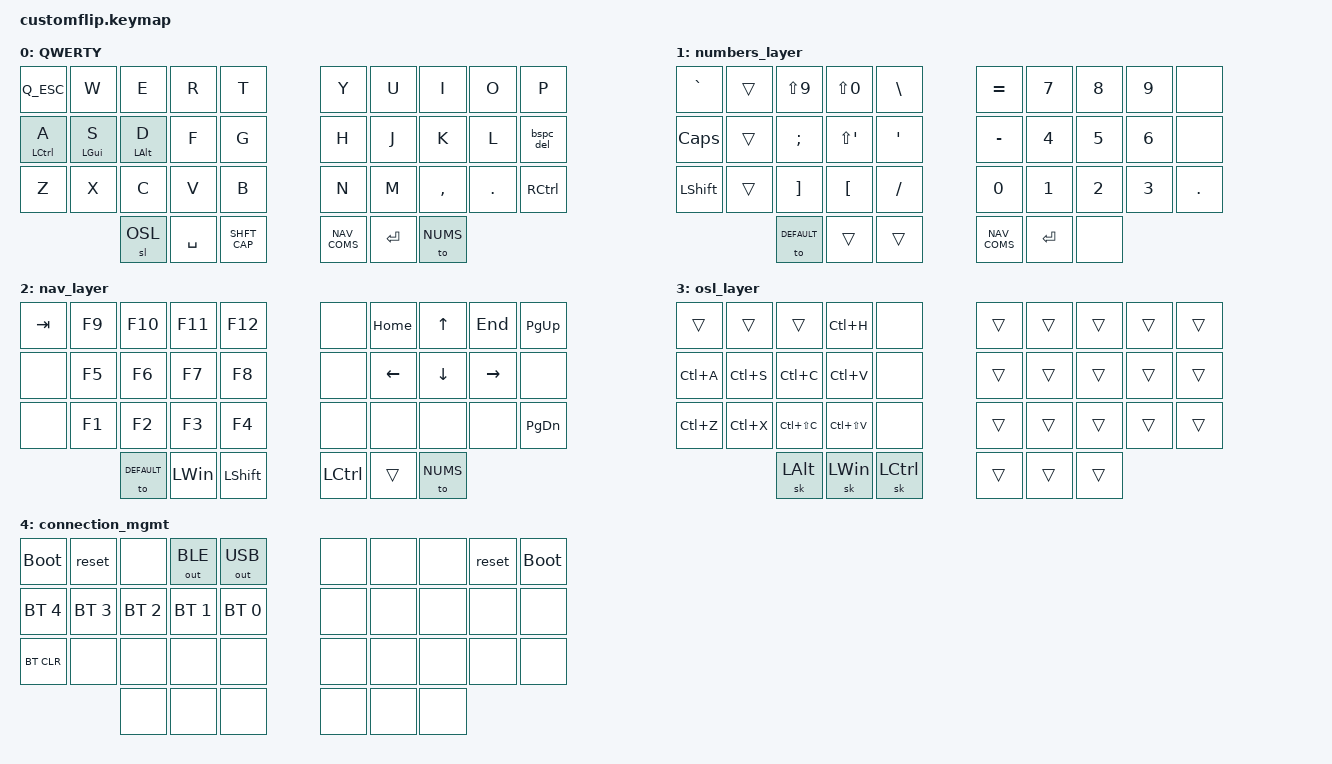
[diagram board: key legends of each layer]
/*
 * Copyright (c) 2020 The ZMK Contributors
 *
 * SPDX-License-Identifier: MIT
 */

#include <behaviors.dtsi>
#include <dt-bindings/zmk/keys.h>
#include <dt-bindings/zmk/bt.h>
#include <dt-bindings/zmk/backlight.h>
#include <dt-bindings/zmk/outputs.h>





#define DEFAULT 0
#define NUMS 1
#define NAV 2
#define OSL 3
#define CONMGMT 4

/ {
 /*
 // Mod Tap eg.   &mt LSHIFT A
 // Stickey Key   &sk LSHIFT
 // Stickey Layer &sl 1
 // Key Toggle	  &kt Alt
 // Key Press     &kp A
 
 */
    behaviors {
	
        hm: homerow_mods {
            compatible = "zmk,behavior-hold-tap";
            label = "HOMEROW_MODS";
            #binding-cells = <2>;
            tapping-term-ms = <150>;
            quick-tap-ms = <0>;
            flavor = "tap-preferred";
            bindings = <&sk>, <&kp>;
        };
		
        SHFT_CAP: tap_dance_0 {
            compatible = "zmk,behavior-tap-dance";
            label = "Double Shift Caps";
            #binding-cells = <0>;
            tapping-term-ms = <200>;
            bindings = <&kp LSHFT>, <&kp CAPS>;
        };
        NAV_COMS: tap_dance_1 {
            compatible = "zmk,behavior-tap-dance";
            label = "Layer nav or coms";
            #binding-cells = <0>;
            tapping-term-ms = <200>;
            bindings = <&to NAV>, <&sl CONMGMT>;
        };
        Q_ESC: tap_dance_2 {
            compatible = "zmk,behavior-tap-dance";
            label = "q_ESC";
            #binding-cells = <0>;
            tapping-term-ms = <200>;
            bindings = <&kp Q>, <&kp ESC>;
        };
		COMMA_ESC: tap_dance_3 {
            compatible = "zmk,behavior-tap-dance";
            label = "COMMA_ESC";
            #binding-cells = <0>;
            tapping-term-ms = <200>;
            bindings = <&kp COMMA>, <&kp ESC>;
        };
        
        // MOD_LSFT, MOD_RSFT, MOD_LCTL, MOD_RCTL, MOD_LALT, MOD_RALT, MOD_LGUI, MOD_RGUI
        bspc_del: backspace_delete {
            compatible = "zmk,behavior-mod-morph";
            label = "BACKSPACE_DELETE";
            #binding-cells = <0>;
            bindings = <&kp BACKSPACE>, <&kp DELETE>;
            mods = <(MOD_LSFT|MOD_RSFT)>;
            keep-mods = <(MOD_RSFT)>;
        };
    };
	   
    
	keymap {
		compatible = "zmk,keymap";
		
		QWERTY { // QWERTY
			bindings = <
				&Q_ESC		&kp W		&kp E		&kp R		&kp T								&kp Y		&kp U		&kp I			&kp O		&kp P
				&hm LCTRL A &hm LGUI S 	&hm LALT D	&kp F 		&kp G								&kp H		&kp J		&kp K			&kp L		&bspc_del
				&kp Z		&kp X		&kp C		&kp V		&kp B								&kp N		&kp M		&kp COMMA		&kp DOT		&kp RCTL
													&sl OSL		&kp SPC		&SHFT_CAP &NAV_COMS		&kp RET		&to NUMS
			>;
		};
//		DVORAk{
//			bindings = <
//				&COMMA_ESC	&kp W		&kp E		&kp P		&kp Y								&kp F		&kp G		&kp C		&kp R		&kp L
//				&kp A		&kp O		&kp E		&kp U		&kp I								&kp D		&kp H		&kp T		&kp N		&kp S
//				&bspc_del	&kp Q		&kp J		&kp K		&kp X								&kp B		&kp M		&kp W		&kp V		&kp Z
//													&sl OSL		&kp SPC		&SHFT_CAP &NAV_COMS		&kp RET		&to NUMS
//			>;
//		
//		};
		
		numbers_layer { // NUMBER SYMBOLS 
			bindings = <
				&kp GRAVE	&trans		&kp LS(N9)	&kp LS(N0)		&kp BSLH						&kp EQUAL	&kp N7	   &kp N8	   &kp N9	   &none
				&kp CAPS	&trans		&kp SEMI	&kp LS(APOS)	&kp APOS						&kp MINUS	&kp N4	   &kp N5	   &kp N6	   &none
				&kp LSHFT	&trans		&kp RBKT	&kp LBKT		&kp FSLH						&kp N0		&kp N1	   &kp N2	   &kp N3	   &kp DOT
						 							&to DEFAULT		&trans		&trans	 &NAV_COMS	&kp RET		&none	
			>;
		};
		nav_layer { // Navigation
			bindings = <
				&kp TAB	   &kp F9		 &kp F10		&kp F11		&kp F12								&none		&kp HOME	&kp UP		&kp END		&kp PG_UP
				&none	   &kp F5		 &kp F6			&kp F7		&kp F8								&none		&kp LEFT	&kp DOWN	&kp RIGHT	&none
				&none	   &kp F1		 &kp F2			&kp F3		&kp F4								&none		&none		&none		&none		&kp PG_DN
														&to DEFAULT	&kp LWIN	&kp LSHFT	&kp LCTL 	&trans		&to NUMS
			>;
		};
		osl_layer {// ONE SHOT LAYER 
			bindings = <
				&trans		&trans		&trans			&kp LC(H)   	&none   					&trans  &trans  &trans	&trans   &trans
				&kp LC(A)	&kp LC(S)	&kp LC(C)		&kp LC(V)   	&none   					&trans  &trans  &trans	&trans   &trans
				&kp LC(Z)	&kp LC(X)	&kp LC(LS(C))	&kp LC(LS(V))   &none   					&trans  &trans	&trans	&trans	 &trans
														&sk LALT		&sk LWIN &sk LCTL	&trans 	&trans	&trans
			>;
		};
		connection_mgmt {// Connection managment 
			bindings = <
				&bootloader		&reset			&none			&out OUT_BLE	&out OUT_USB						&none	&none	&none	&reset	&bootloader
				&bt BT_SEL 4	&bt BT_SEL 3	&bt BT_SEL 2	&bt BT_SEL 1	&bt BT_SEL 0						&none	&none	&none	&none	&none
				&bt BT_CLR		&none			&none			&none			&none								&none	&none	&none	&none	&none
																&none			&none		&none	&none			&none	&none
			>;
		};	 
	};
};
